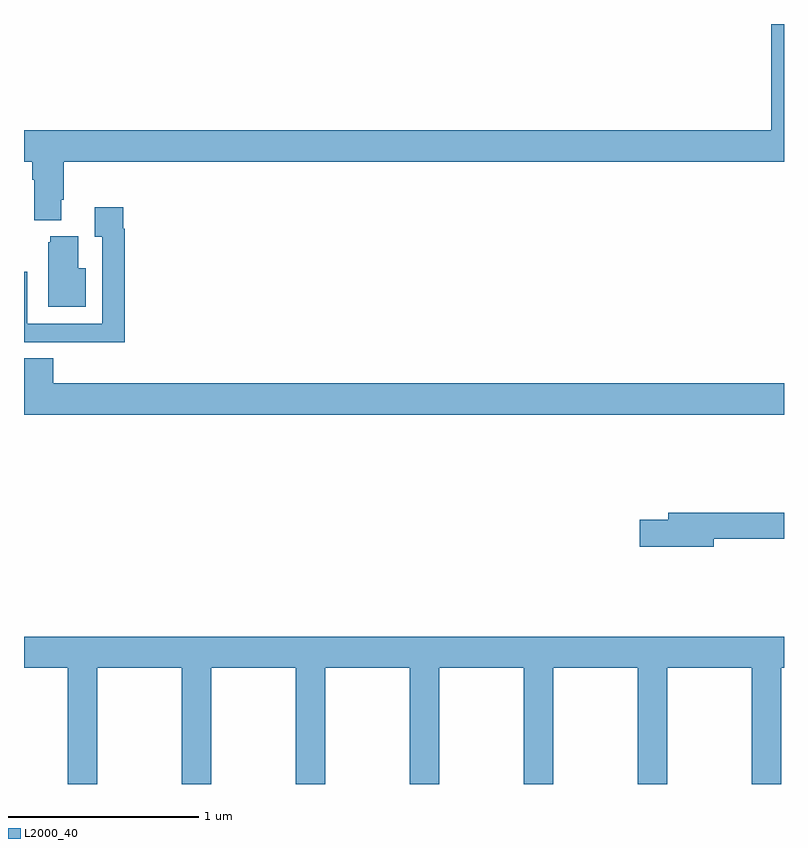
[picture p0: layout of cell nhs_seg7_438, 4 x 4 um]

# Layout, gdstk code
import gdstk
lib = gdstk.Library(unit=1e-6, precision=1e-09)
def P(c, l, *ps):  # polygons
    for p in ps: c.add(gdstk.Polygon(p, *l))
L2000_40 = (2000, 40)

nhs_seg7_438 = lib.new_cell('nhs_seg7_438')
P(nhs_seg7_438, L2000_40, [(145.195,1007.074),(145.208,1007.074),(145.208,1007.276),(149,1007.276),(149,1008),(148.934,1008),(148.934,1007.44),(145,1007.44),(145,1007.276),(145.043,1007.276),(145.043,1007.18),(145.055,1007.18),(145.055,1006.967),(145.195,1006.967)],
  [(145.529,1006.922),(145.522,1006.922),(145.522,1007.035),(145.373,1007.035),(145.373,1006.879),(145.413,1006.879),(145.413,1006.422),(145.017,1006.422),(145.017,1006.696),(145,1006.696),(145,1006.326),(145.237,1006.326),(145.237,1006.325),(145.529,1006.325)],
  [(145.324,1006.714),(145.285,1006.714),(145.285,1006.882),(145.139,1006.882),(145.139,1006.851),(145.127,1006.851),(145.127,1006.511),(145.324,1006.511)],
  [(149,1006.108),(145.154,1006.108),(145.154,1006.241),(145,1006.241),(145,1005.944),(149,1005.944)],
  [(148.63,1005.292),(149,1005.292),(149,1005.428),(148.391,1005.428),(148.391,1005.392),(148.242,1005.392),(148.242,1005.25),(148.63,1005.25)],
  [(145.386,1004.612),(145.831,1004.612),(145.831,1004),(145.986,1004),(145.986,1004.612),(146.431,1004.612),(146.431,1004),(146.586,1004),(146.586,1004.612),(147.031,1004.612),(147.031,1004),(147.186,1004),(147.186,1004.612),(147.631,1004.612),(147.631,1004),(147.786,1004),(147.786,1004.612),(148.231,1004.612),(148.231,1004),(148.386,1004),(148.386,1004.612),(148.831,1004.612),(148.831,1004),(148.986,1004),(148.986,1004.612),(149,1004.612),(149,1004.776),(145,1004.776),(145,1004.612),(145.231,1004.612),(145.231,1004),(145.386,1004)])

lib.write_gds('nhs_seg7_438.gds')
